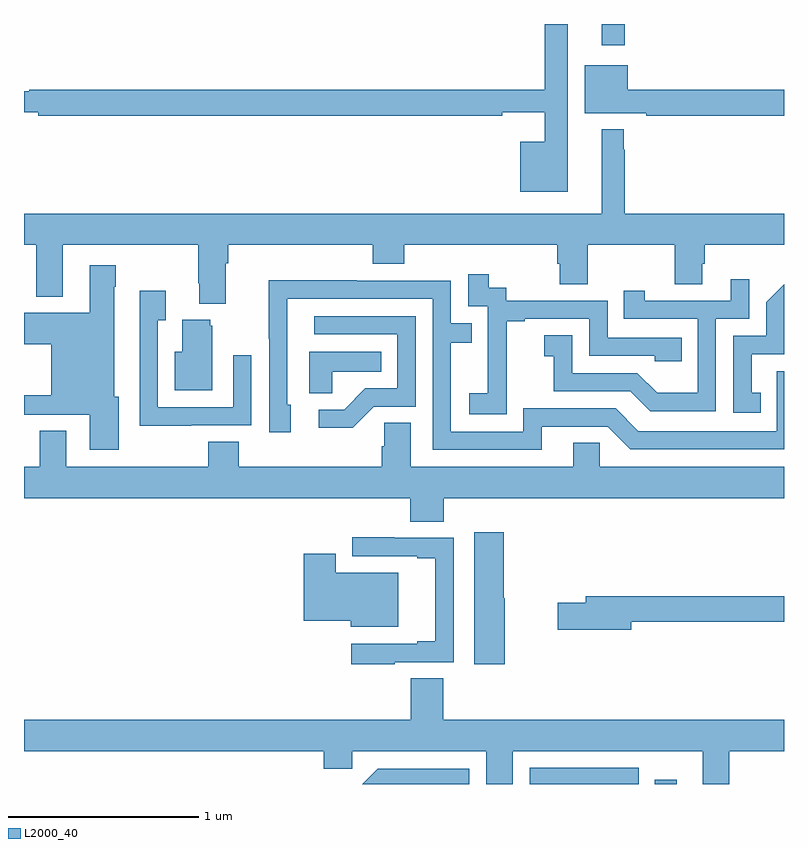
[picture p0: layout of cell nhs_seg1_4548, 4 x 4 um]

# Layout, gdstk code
import gdstk
lib = gdstk.Library(unit=1e-6, precision=1e-09)
def R(c, l, rs):  # rectangles x0, y0, x1, y1
    for r in rs: c.add(gdstk.rectangle(r[:2], r[2:], *l))
def P(c, l, *ps):  # polygons
    for p in ps: c.add(gdstk.Polygon(p, *l))
L2000_40 = (2000, 40)

nhs_seg1_4548 = lib.new_cell('nhs_seg1_4548')
R(nhs_seg1_4548, L2000_40, [(359.661,578.199,360.235,578.284), (360.32,578.199,360.436,578.221), (360.041,582.087,360.163,582.199)])
P(nhs_seg1_4548, L2000_40, [(359.863,582.199),(359.742,582.199),(359.742,581.852),(357.028,581.852),(357.028,581.845),(357,581.845),(357,581.735),(357.076,581.735),(357.076,581.716),(359.516,581.716),(359.516,581.735),(359.742,581.735),(359.742,581.578),(359.612,581.578),(359.612,581.315),(359.863,581.315)],
  [(361,581.852),(360.178,581.852),(360.178,581.983),(359.951,581.983),(359.951,581.729),(360.274,581.729),(360.274,581.716),(361,581.716)],
  [(358.063,580.94),(358.076,580.94),(358.076,581.036),(358.835,581.036),(358.835,580.937),(359,580.937),(359,581.036),(359.807,581.036),(359.807,580.938),(359.819,580.938),(359.819,580.828),(359.967,580.828),(359.967,581.036),(360.424,581.036),(360.424,580.828),(360.571,580.828),(360.571,580.938),(360.584,580.938),(360.584,581.036),(361,581.036),(361,581.2),(360.163,581.2),(360.163,581.537),(360.156,581.537),(360.156,581.644),(360.041,581.644),(360.041,581.2),(357,581.2),(357,581.036),(357.065,581.036),(357.065,580.763),(357.205,580.763),(357.205,581.036),(357.916,581.036),(357.916,580.834),(357.923,580.834),(357.923,580.727),(358.063,580.727)],
  [(357.499,580.236),(357.475,580.236),(357.475,580.817),(357.483,580.817),(357.483,580.93),(357.347,580.93),(357.347,580.678),(357,580.678),(357,580.514),(357.143,580.514),(357.143,580.244),(357,580.244),(357,580.143),(357.347,580.143),(357.347,579.957),(357.499,579.957)],
  [(359.541,580.351),(359.54,580.351),(359.54,580.635),(359.635,580.635),(359.635,580.647),(359.976,580.647),(359.976,580.452),(360.321,580.452),(360.321,580.425),(360.461,580.425),(360.461,580.548),(360.072,580.548),(360.072,580.743),(359.538,580.743),(359.538,580.812),(359.446,580.812),(359.446,580.882),(359.337,580.882),(359.337,580.713),(359.442,580.713),(359.442,580.484),(359.441,580.484),(359.441,580.255),(359.343,580.255),(359.343,580.145),(359.541,580.145)],
  [(360.642,580.647),(360.816,580.647),(360.816,580.855),(360.719,580.855),(360.719,580.743),(360.268,580.743),(360.268,580.795),(360.157,580.795),(360.157,580.647),(360.546,580.647),(360.546,580.258),(360.332,580.258),(360.228,580.362),(359.886,580.362),(359.886,580.561),(359.739,580.561),(359.739,580.451),(359.788,580.451),(359.788,580.266),(360.191,580.266),(360.296,580.161),(360.642,580.161)],
  [(359.725,580.08),(360.072,580.08),(360.192,579.96),(361,579.96),(361,580.371),(360.963,580.371),(360.963,580.056),(360.234,580.056),(360.114,580.176),(359.628,580.176),(359.628,580.053),(359.247,580.053),(359.247,580.522),(359.357,580.522),(359.357,580.623),(359.247,580.623),(359.247,580.848),(358.751,580.848),(358.751,580.85),(358.288,580.85),(358.288,580.543),(358.29,580.543),(358.29,580.05),(358.405,580.05),(358.405,580.194),(358.386,580.194),(358.386,580.752),(359.151,580.752),(359.151,579.957),(359.725,579.957)],
  [(360.878,580.257),(360.829,580.257),(360.829,580.461),(361,580.461),(361,580.828),(360.906,580.734),(360.906,580.557),(360.732,580.557),(360.732,580.152),(360.878,580.152)],
  [(357.881,580.086),(358.197,580.086),(358.197,580.456),(358.101,580.456),(358.101,580.182),(357.705,580.182),(357.705,580.639),(357.745,580.639),(357.745,580.795),(357.608,580.795),(357.608,580.336),(357.609,580.336),(357.609,580.085),(357.881,580.085)],
  [(358.842,580.185),(359.061,580.185),(359.061,580.662),(358.527,580.662),(358.527,580.566),(358.965,580.566),(358.965,580.281),(358.796,580.281),(358.685,580.17),(358.551,580.17),(358.551,580.073),(358.729,580.073)],
  [(357.991,580.611),(357.98,580.611),(357.98,580.642),(357.833,580.642),(357.833,580.474),(357.794,580.474),(357.794,580.271),(357.991,580.271)],
  [(358.623,580.37),(358.88,580.37),(358.88,580.474),(358.502,580.474),(358.502,580.255),(358.623,580.255)],
  [(359.21,579.704),(361,579.704),(361,579.868),(360.03,579.868),(360.03,579.995),(359.891,579.995),(359.891,579.868),(359.035,579.868),(359.035,580.1),(358.896,580.1),(358.896,579.977),(358.883,579.977),(358.883,579.868),(358.13,579.868),(358.13,580.001),(357.97,580.001),(357.97,579.868),(357.223,579.868),(357.223,580.058),(357.083,580.058),(357.083,579.868),(357,579.868),(357,579.704),(359.033,579.704),(359.033,579.58),(359.21,579.58)],
  [(359.53,579.177),(359.525,579.177),(359.525,579.523),(359.369,579.523),(359.369,578.829),(359.53,578.829)],
  [(358.952,578.841),(359.262,578.841),(359.262,579.495),(358.949,579.495),(358.949,579.497),(358.727,579.497),(358.727,579.399),(359.069,579.399),(359.069,579.387),(359.165,579.387),(359.165,578.95),(359.069,578.95),(359.069,578.937),(358.722,578.937),(358.722,578.829),(358.952,578.829)],
  [(358.969,579.31),(358.642,579.31),(358.642,579.412),(358.472,579.412),(358.472,579.059),(358.721,579.059),(358.721,579.026),(358.969,579.026)],
  [(360.196,579.052),(361,579.052),(361,579.188),(359.957,579.188),(359.957,579.152),(359.808,579.152),(359.808,579.01),(360.196,579.01)],
  [(359.572,578.372),(360.572,578.372),(360.572,578.199),(360.712,578.199),(360.712,578.372),(361,578.372),(361,578.536),(359.207,578.536),(359.207,578.756),(359.036,578.756),(359.036,578.536),(357,578.536),(357,578.372),(358.577,578.372),(358.577,578.279),(358.728,578.279),(358.728,578.372),(359.432,578.372),(359.432,578.199),(359.572,578.199)],
  [(359.344,578.28),(358.862,578.28),(358.781,578.199),(359.344,578.199)])

lib.write_gds('nhs_seg1_4548.gds')
